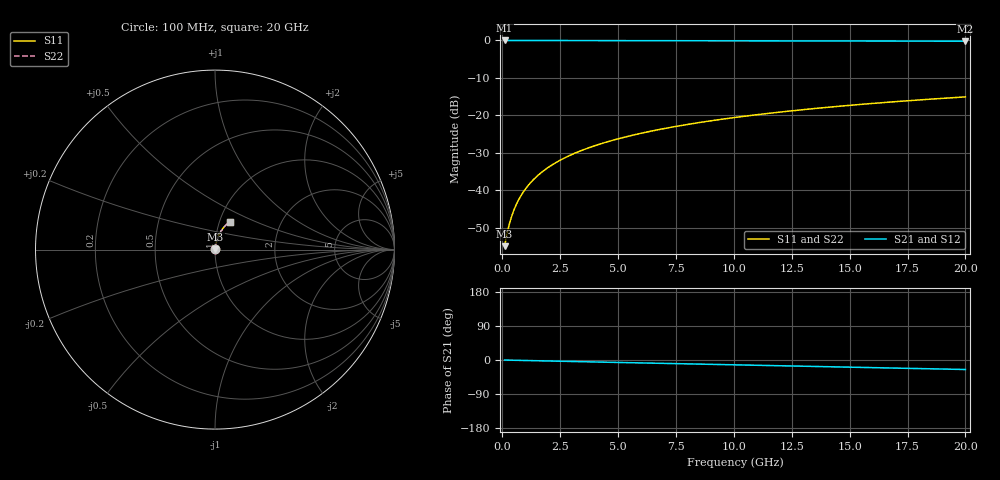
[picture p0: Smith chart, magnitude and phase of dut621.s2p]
! Touchstone file exported from HFSS 2026.1.0
!  File:  C:/ffzhzh/LocalFiles/Ansys_Project_Files/temp_train_TMRDL_621_1783009013_55676.aedt
!  Generated:  12:18:27 AM Jul  3, 2026
!  Design:  TMRDL
!  Project:  temp_train_TMRDL_621_1783009013_55676
! Variables:
!  h_bsmrdl = 2um
!  h_ox = 20um
!  h_rdl = 5um
!  h_sub = 80um
!  h_tmrdl = 5.86um
!  h_tsv = 80um
!  h_via = 3um
!  l_bsmrdl = 300um
!  l_sub = 794.82um
!  l_tmrdl = 394.82um
!  m_sub = 200um
!  pitch = 35.49um
!  r_tsv = 6um
!  s_tmrdl = 10um
!  w_bsmrdl = 18um
!  w_sub = 500um
!  w_tmrdl = 19.68um
!  x_tsv_center1 = 404.66um
!  x_tsv_center2 = 722.66um
!  x_tsv_center3 = 1137.16um
!  x_tsv_center4 = 1455.16um
!  x_tsv_center5 = 1869.66um
!  x_tsv_center6 = 2187.66um
# GHz S MA R 50.000000
! Terminal data exported
! Port[1] = TM_RDL1_1_T1
! Port[2] = TM_RDL1_1_T2
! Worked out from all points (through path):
!   200 points, 100 MHz to 20 GHz, reference 50 ohm
!   highest |S21| = -0.01 dB at 100 MHz (marker M1); lowest = -0.2 dB at 20 GHz (marker M2)
!   group delay of S21, straight-line fit = 3.47 ps
!   lowest |S11| = -55.0 dB at 100 MHz (marker M3), VSWR 1.00, Z = 50.1 + j0.115 ohm
!   |S11| at or under -10 dB: start of sweep to end of sweep
!   |S22| runs from -55.0 to -15.1 dB; largest |S21 - S12| = 2.5e-15
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0.1  0.001787 40.1  0.9986 -0.1  0.9986 -0.1  0.001787 40.1
! Gamma 0 0 0 0
! Port Impedance 50 0 50 0
0.2  0.0026 55.8  0.9985 -0.3  0.9985 -0.3  0.002599 55.8
0.3  0.003492 64.4  0.9984 -0.4  0.9984 -0.4  0.003491 64.4
0.4  0.004434 69.5  0.9984 -0.5  0.9984 -0.5  0.004433 69.5
0.5  0.005404 72.7  0.9983 -0.7  0.9983 -0.7  0.005404 72.8
0.6  0.006389 75.0  0.9982 -0.8  0.9982 -0.8  0.006389 75.0
0.8  0.008381 77.7  0.9982 -1.1  0.9982 -1.1  0.008382 77.7
1.1  0.01138 79.6  0.998 -1.5  0.998 -1.5  0.01138 79.6
1.3  0.01338 80.3  0.9979 -1.7  0.9979 -1.7  0.01338 80.3
1.5  0.01537 80.7  0.9978 -2.0  0.9978 -2.0  0.01537 80.7
1.8  0.01833 80.9  0.9976 -2.4  0.9976 -2.4  0.01833 80.9
2.1  0.02126 80.9  0.9974 -2.8  0.9974 -2.8  0.02126 80.9
2.7  0.02705 80.7  0.9969 -3.5  0.9969 -3.5  0.02705 80.7
3.5  0.03461 80.1  0.9962 -4.6  0.9962 -4.6  0.03461 80.1
4.2  0.04113 79.5  0.9956 -5.5  0.9956 -5.5  0.04113 79.5
5  0.04848 78.8  0.9948 -6.5  0.9948 -6.5  0.04848 78.8
6.8  0.06479 77.0  0.9931 -8.7  0.9931 -8.7  0.06479 77.0
8.3  0.07818 75.4  0.9916 -10.6  0.9916 -10.6  0.07818 75.5
10.1  0.09402 73.5  0.9896 -12.9  0.9896 -12.9  0.09402 73.5
13.4  0.1224 69.8  0.9857 -17.0  0.9857 -17.0  0.1224 69.9
16.7  0.1498 66.1  0.9811 -21.0  0.9811 -21.0  0.1498 66.1
20  0.1761 62.3  0.9762 -25.1  0.9762 -25.1  0.1761 62.3
